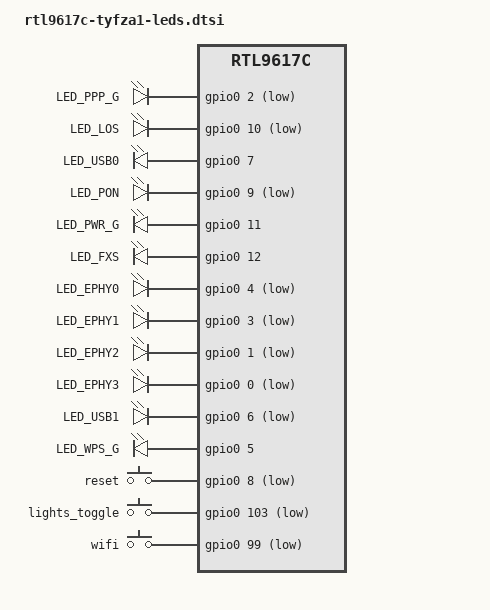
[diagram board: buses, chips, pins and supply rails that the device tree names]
// SPDX-License-Identifier: GPL-2.0-only
// Stock boot selects conf-1/fdt@1: f85b7a420a14fa31ece8a1e6f7e426f2a464587cf8ad19ce88932a4b7903d050.
#include <dt-bindings/input/input.h>
/ {
	aliases {
		led-boot = &led_power;
		led-failsafe = &led_power;
		led-running = &led_power;
		led-upgrade = &led_power;
		led-wps = &led_wps;
	};

	leds {
		compatible = "tianyi,tyfza1-leds";
		internet { label = "LED_PPP_G"; gpios = <&gpio0 2 GPIO_ACTIVE_LOW>; };
		los { label = "LED_LOS"; gpios = <&gpio0 10 GPIO_ACTIVE_LOW>; };
		usb0 { label = "LED_USB0"; gpios = <&gpio0 7 GPIO_ACTIVE_HIGH>; };
		pon { label = "LED_PON"; gpios = <&gpio0 9 GPIO_ACTIVE_LOW>; };
		led_power: power { label = "LED_PWR_G"; gpios = <&gpio0 11 GPIO_ACTIVE_HIGH>; default-state = "on"; };
		phone { label = "LED_FXS"; gpios = <&gpio0 12 GPIO_ACTIVE_HIGH>; };
		lan0 { label = "LED_EPHY0"; gpios = <&gpio0 4 GPIO_ACTIVE_LOW>; };
		lan1 { label = "LED_EPHY1"; gpios = <&gpio0 3 GPIO_ACTIVE_LOW>; };
		lan2 { label = "LED_EPHY2"; gpios = <&gpio0 1 GPIO_ACTIVE_LOW>; };
		lan3 { label = "LED_EPHY3"; gpios = <&gpio0 0 GPIO_ACTIVE_LOW>; };
		usb1 { label = "LED_USB1"; gpios = <&gpio0 6 GPIO_ACTIVE_LOW>; };
		led_wps: wps { label = "LED_WPS_G"; gpios = <&gpio0 5 GPIO_ACTIVE_HIGH>; };
	};

	/*
	 * PT1570-R10 carries three front-panel keys. GPIO numbers were established
	 * by dumping the raw input registers from U-Boot while pressing each key:
	 *   reset  -> bank0 pin8  = 8
	 *   lights -> bank3 pin3  = 99
	 *   wifi   -> bank3 pin7  = 103
	 * The stock FDT labels these as <&gpio2 7> / <&gpio2 3>, but that phandle
	 * actually resolves to bank@3 (node name and range index are off by one),
	 * which is why reading bank2 always returned zero.
	 *
	 * The stock node used "gpio-keys" (interrupt driven); polling is kept here
	 * because the native GPIO driver does not wire up the bank interrupts.
	 */
	led-button {
		compatible = "gpio-keys-polled";
		poll-interval = <20>;

		btn-reset {
			label = "reset";
			linux,code = <KEY_RESTART>;
			gpios = <&gpio0 8 GPIO_ACTIVE_LOW>;
			debounce-interval = <60>;
		};
		btn-led {
			label = "lights_toggle";
			linux,code = <KEY_LIGHTS_TOGGLE>;
			gpios = <&gpio0 103 GPIO_ACTIVE_LOW>;
			debounce-interval = <60>;
		};
		btn-wifi {
			label = "wifi";
			linux,code = <KEY_WPS_BUTTON>;
			gpios = <&gpio0 99 GPIO_ACTIVE_LOW>;
			debounce-interval = <60>;
		};
	};
};
